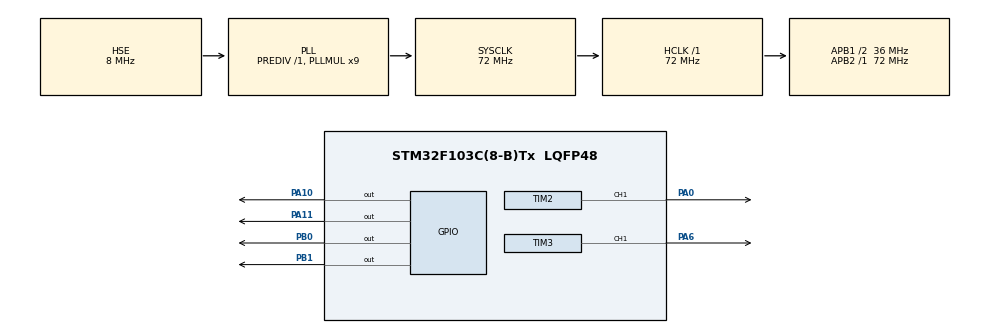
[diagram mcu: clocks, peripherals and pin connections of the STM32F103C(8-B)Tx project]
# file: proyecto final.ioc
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Mcu.Family=STM32F1
Mcu.Name=STM32F103C(8-B)Tx
Mcu.Package=LQFP48
NVIC.PriorityGroup=NVIC_PRIORITYGROUP_4
PA0-WKUP.Signal=S_TIM2_CH1_ETR
PA10.Signal=GPIO_Output
PA11.Signal=GPIO_Output
PA13.Mode=Serial_Wire
PA13.Signal=SYS_JTMS-SWDIO
PA14.Mode=Serial_Wire
PA14.Signal=SYS_JTCK-SWCLK
PA6.Signal=S_TIM3_CH1
PB0.Signal=GPIO_Output
PB1.Signal=GPIO_Output
PD0-OSC_IN.Mode=HSE-External-Oscillator
PD0-OSC_IN.Signal=RCC_OSC_IN
PD1-OSC_OUT.Mode=HSE-External-Oscillator
PD1-OSC_OUT.Signal=RCC_OSC_OUT
ProjectManager.HeapSize=0x200
ProjectManager.StackSize=0x400
ProjectManager.TargetToolchain=STM32CubeIDE
RCC.AHBFreq_Value=72000000
RCC.APB1CLKDivider=RCC_HCLK_DIV2
RCC.APB1Freq_Value=36000000
RCC.APB1TimFreq_Value=72000000
RCC.APB2Freq_Value=72000000
RCC.APB2TimFreq_Value=72000000
RCC.HCLKFreq_Value=72000000
RCC.PLLMUL=RCC_PLL_MUL9
RCC.PLLSourceVirtual=RCC_PLLSOURCE_HSE
RCC.SYSCLKFreq_VALUE=72000000
RCC.SYSCLKSource=RCC_SYSCLKSOURCE_PLLCLK
RCC.USBFreq_Value=72000000
SH.S_TIM2_CH1_ETR.0=TIM2_CH1,PWM Generation1 CH1
SH.S_TIM3_CH1.0=TIM3_CH1,PWM Generation1 CH1
TIM2.Channel-PWM\ Generation1\ CH1=TIM_CHANNEL_1
TIM2.Period=999
TIM2.Prescaler=71
TIM3.Channel-PWM\ Generation1\ CH1=TIM_CHANNEL_1
TIM3.Period=999
TIM3.Prescaler=71
board=custom

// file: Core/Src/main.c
/* USER CODE BEGIN Header */
/**
  ******************************************************************************
  * @file           : main.c
  * @brief          : Main program body - Control 2 motores puente H
  ******************************************************************************
  */
/* USER CODE END Header */
#include "main.h"

/* USER CODE BEGIN PD */
#define MOTOR_DUTY       999   /* 0..999  => 100% (Period=999) */
#define TIEMPO_ON_MS     5000  /* 5 segundos encendidos */
#define TIEMPO_OFF_MS    2000  /* 2 segundos apagados  */
/* USER CODE END PD */

TIM_HandleTypeDef htim2;
TIM_HandleTypeDef htim3;

void SystemClock_Config(void);
static void MX_GPIO_Init(void);
static void MX_TIM2_Init(void);
static void MX_TIM3_Init(void);

/* USER CODE BEGIN 0 */

/* --- Funciones de control de motores --- */

/* Motor A (IN1=PA10, IN2=PA11, PWM=TIM2_CH1/PA0) */
static void MotorA_Adelante(uint32_t duty)
{
    HAL_GPIO_WritePin(GPIOA, GPIO_PIN_10, GPIO_PIN_SET);
    HAL_GPIO_WritePin(GPIOA, GPIO_PIN_11, GPIO_PIN_RESET);
    __HAL_TIM_SET_COMPARE(&htim2, TIM_CHANNEL_1, duty);
}

static void MotorA_Atras(uint32_t duty)
{
    HAL_GPIO_WritePin(GPIOA, GPIO_PIN_10, GPIO_PIN_RESET);
    HAL_GPIO_WritePin(GPIOA, GPIO_PIN_11, GPIO_PIN_SET);
    __HAL_TIM_SET_COMPARE(&htim2, TIM_CHANNEL_1, duty);
}

static void MotorA_Stop(void)
{
    HAL_GPIO_WritePin(GPIOA, GPIO_PIN_10, GPIO_PIN_RESET);
    HAL_GPIO_WritePin(GPIOA, GPIO_PIN_11, GPIO_PIN_RESET);
    __HAL_TIM_SET_COMPARE(&htim2, TIM_CHANNEL_1, 0);
}

/* Motor B (IN3=PB0, IN4=PB1, PWM=TIM3_CH1/PA6) */
static void MotorB_Adelante(uint32_t duty)
{
    HAL_GPIO_WritePin(GPIOB, GPIO_PIN_0, GPIO_PIN_SET);
    HAL_GPIO_WritePin(GPIOB, GPIO_PIN_1, GPIO_PIN_RESET);
    __HAL_TIM_SET_COMPARE(&htim3, TIM_CHANNEL_1, duty);
}

static void MotorB_Atras(uint32_t duty)
{
    HAL_GPIO_WritePin(GPIOB, GPIO_PIN_0, GPIO_PIN_RESET);
    HAL_GPIO_WritePin(GPIOB, GPIO_PIN_1, GPIO_PIN_SET);
    __HAL_TIM_SET_COMPARE(&htim3, TIM_CHANNEL_1, duty);
}

static void MotorB_Stop(void)
{
    HAL_GPIO_WritePin(GPIOB, GPIO_PIN_0, GPIO_PIN_RESET);
    HAL_GPIO_WritePin(GPIOB, GPIO_PIN_1, GPIO_PIN_RESET);
    __HAL_TIM_SET_COMPARE(&htim3, TIM_CHANNEL_1, 0);
}

/* USER CODE END 0 */

int main(void)
{

  /* MCU Configuration--------------------------------------------------------*/
  HAL_Init();
  SystemClock_Config();

  /* Initialize all configured peripherals */
  MX_GPIO_Init();
  MX_TIM2_Init();
  MX_TIM3_Init();

  /* USER CODE BEGIN 2 */
  /* Arrancar los canales PWM */
  HAL_TIM_PWM_Start(&htim2, TIM_CHANNEL_1);
  HAL_TIM_PWM_Start(&htim3, TIM_CHANNEL_1);

  /* Asegurar motores detenidos al inicio */
  MotorA_Stop();
  MotorB_Stop();
  /* USER CODE END 2 */

  /* Infinite loop */
  while (1)
  {

    /* USER CODE BEGIN 3 */

    /* ---- FASE ON: 5 segundos ---- */
    MotorA_Adelante(MOTOR_DUTY);
    MotorB_Adelante(MOTOR_DUTY);
    HAL_Delay(TIEMPO_ON_MS);

    /* ---- FASE OFF: 2 segundos ---- */
    MotorA_Stop();
    MotorB_Stop();
    HAL_Delay(TIEMPO_OFF_MS);

    /* Repite indefinidamente */
  }
  /* USER CODE END 3 */
}

void SystemClock_Config(void)
{
  RCC_OscInitTypeDef RCC_OscInitStruct = {0};
  RCC_ClkInitTypeDef RCC_ClkInitStruct = {0};

  RCC_OscInitStruct.OscillatorType = RCC_OSCILLATORTYPE_HSE;
  RCC_OscInitStruct.HSEState = RCC_HSE_ON;
  RCC_OscInitStruct.HSEPredivValue = RCC_HSE_PREDIV_DIV1;
  RCC_OscInitStruct.HSIState = RCC_HSI_ON;
  RCC_OscInitStruct.PLL.PLLState = RCC_PLL_ON;
  RCC_OscInitStruct.PLL.PLLSource = RCC_PLLSOURCE_HSE;
  RCC_OscInitStruct.PLL.PLLMUL = RCC_PLL_MUL9;
  if (HAL_RCC_OscConfig(&RCC_OscInitStruct) != HAL_OK)
  {
    Error_Handler();
  }

  RCC_ClkInitStruct.ClockType = RCC_CLOCKTYPE_HCLK|RCC_CLOCKTYPE_SYSCLK
                              |RCC_CLOCKTYPE_PCLK1|RCC_CLOCKTYPE_PCLK2;
  RCC_ClkInitStruct.SYSCLKSource = RCC_SYSCLKSOURCE_PLLCLK;
  RCC_ClkInitStruct.AHBCLKDivider = RCC_SYSCLK_DIV1;
  RCC_ClkInitStruct.APB1CLKDivider = RCC_HCLK_DIV2;
  RCC_ClkInitStruct.APB2CLKDivider = RCC_HCLK_DIV1;

  if (HAL_RCC_ClockConfig(&RCC_ClkInitStruct, FLASH_LATENCY_2) != HAL_OK)
  {
    Error_Handler();
  }
}

static void MX_TIM2_Init(void)
{
  TIM_MasterConfigTypeDef sMasterConfig = {0};
  TIM_OC_InitTypeDef sConfigOC = {0};

  htim2.Instance = TIM2;
  htim2.Init.Prescaler = 71;
  htim2.Init.CounterMode = TIM_COUNTERMODE_UP;
  htim2.Init.Period = 999;
  htim2.Init.ClockDivision = TIM_CLOCKDIVISION_DIV1;
  htim2.Init.AutoReloadPreload = TIM_AUTORELOAD_PRELOAD_DISABLE;
  if (HAL_TIM_PWM_Init(&htim2) != HAL_OK)
  {
    Error_Handler();
  }
  sMasterConfig.MasterOutputTrigger = TIM_TRGO_RESET;
  sMasterConfig.MasterSlaveMode = TIM_MASTERSLAVEMODE_DISABLE;
  if (HAL_TIMEx_MasterConfigSynchronization(&htim2, &sMasterConfig) != HAL_OK)
  {
    Error_Handler();
  }
  sConfigOC.OCMode = TIM_OCMODE_PWM1;
  sConfigOC.Pulse = 0;
  sConfigOC.OCPolarity = TIM_OCPOLARITY_HIGH;
  sConfigOC.OCFastMode = TIM_OCFAST_DISABLE;
  if (HAL_TIM_PWM_ConfigChannel(&htim2, &sConfigOC, TIM_CHANNEL_1) != HAL_OK)
  {
    Error_Handler();
  }
  HAL_TIM_MspPostInit(&htim2);
}

static void MX_TIM3_Init(void)
{
  TIM_MasterConfigTypeDef sMasterConfig = {0};
  TIM_OC_InitTypeDef sConfigOC = {0};

  htim3.Instance = TIM3;
  htim3.Init.Prescaler = 71;
  htim3.Init.CounterMode = TIM_COUNTERMODE_UP;
  htim3.Init.Period = 999;
  htim3.Init.ClockDivision = TIM_CLOCKDIVISION_DIV1;
  htim3.Init.AutoReloadPreload = TIM_AUTORELOAD_PRELOAD_DISABLE;
  if (HAL_TIM_PWM_Init(&htim3) != HAL_OK)
  {
    Error_Handler();
  }
  sMasterConfig.MasterOutputTrigger = TIM_TRGO_RESET;
  sMasterConfig.MasterSlaveMode = TIM_MASTERSLAVEMODE_DISABLE;
  if (HAL_TIMEx_MasterConfigSynchronization(&htim3, &sMasterConfig) != HAL_OK)
  {
    Error_Handler();
  }
  sConfigOC.OCMode = TIM_OCMODE_PWM1;
  sConfigOC.Pulse = 0;
  sConfigOC.OCPolarity = TIM_OCPOLARITY_HIGH;
  sConfigOC.OCFastMode = TIM_OCFAST_DISABLE;
  if (HAL_TIM_PWM_ConfigChannel(&htim3, &sConfigOC, TIM_CHANNEL_1) != HAL_OK)
  {
    Error_Handler();
  }
  HAL_TIM_MspPostInit(&htim3);
}

static void MX_GPIO_Init(void)
{
  GPIO_InitTypeDef GPIO_InitStruct = {0};

  __HAL_RCC_GPIOD_CLK_ENABLE();
  __HAL_RCC_GPIOA_CLK_ENABLE();
  __HAL_RCC_GPIOB_CLK_ENABLE();

  HAL_GPIO_WritePin(GPIOB, GPIO_PIN_0|GPIO_PIN_1, GPIO_PIN_RESET);
  HAL_GPIO_WritePin(GPIOA, GPIO_PIN_10|GPIO_PIN_11, GPIO_PIN_RESET);

  GPIO_InitStruct.Pin = GPIO_PIN_0|GPIO_PIN_1;
  GPIO_InitStruct.Mode = GPIO_MODE_OUTPUT_PP;
  GPIO_InitStruct.Pull = GPIO_NOPULL;
  GPIO_InitStruct.Speed = GPIO_SPEED_FREQ_LOW;
  HAL_GPIO_Init(GPIOB, &GPIO_InitStruct);

  GPIO_InitStruct.Pin = GPIO_PIN_10|GPIO_PIN_11;
  GPIO_InitStruct.Mode = GPIO_MODE_OUTPUT_PP;
  GPIO_InitStruct.Pull = GPIO_NOPULL;
  GPIO_InitStruct.Speed = GPIO_SPEED_FREQ_LOW;
  HAL_GPIO_Init(GPIOA, &GPIO_InitStruct);
}

void Error_Handler(void)
{
  __disable_irq();
  while (1) {}
}
